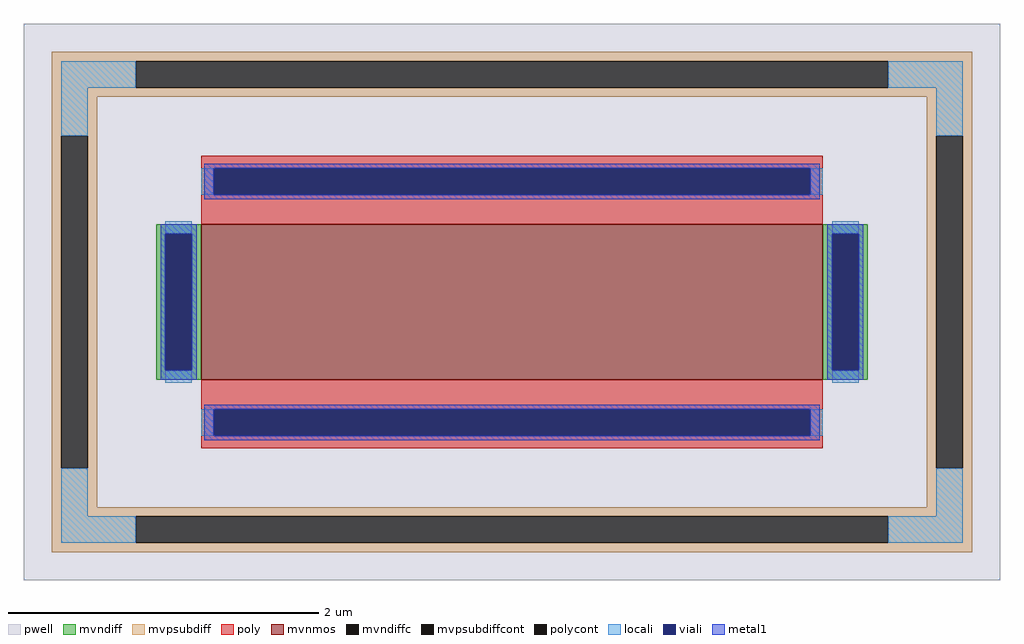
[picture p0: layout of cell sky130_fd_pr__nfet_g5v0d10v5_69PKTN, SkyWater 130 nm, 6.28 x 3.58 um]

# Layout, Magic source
magic
tech sky130A
<< pwell >>
rect -314 -179 314 179
<< mvnmos >>
rect -200 -50 200 50
<< mvndiff >>
rect -229 44 -200 50
rect -229 -44 -223 44
rect -206 -44 -200 44
rect -229 -50 -200 -44
rect 200 44 229 50
rect 200 -44 206 44
rect 223 -44 229 44
rect 200 -50 229 -44
<< mvndiffc >>
rect -223 -44 -206 44
rect 206 -44 223 44
<< mvpsubdiff >>
rect -296 155 296 161
rect -296 138 -242 155
rect 242 138 296 155
rect -296 132 296 138
rect -296 107 -267 132
rect -296 -107 -290 107
rect -273 -107 -267 107
rect 267 107 296 132
rect -296 -132 -267 -107
rect 267 -107 273 107
rect 290 -107 296 107
rect 267 -132 296 -107
rect -296 -138 296 -132
rect -296 -155 -242 -138
rect 242 -155 296 -138
rect -296 -161 296 -155
<< mvpsubdiffcont >>
rect -242 138 242 155
rect -290 -107 -273 107
rect 273 -107 290 107
rect -242 -155 242 -138
<< poly >>
rect -200 86 200 94
rect -200 69 -192 86
rect 192 69 200 86
rect -200 50 200 69
rect -200 -69 200 -50
rect -200 -86 -192 -69
rect 192 -86 200 -69
rect -200 -94 200 -86
<< polycont >>
rect -192 69 192 86
rect -192 -86 192 -69
<< locali >>
rect -290 138 -242 155
rect 242 138 290 155
rect -290 107 -273 138
rect 273 107 290 138
rect -200 69 -192 86
rect 192 69 200 86
rect -223 44 -206 52
rect -223 -52 -206 -44
rect 206 44 223 52
rect 206 -52 223 -44
rect -200 -86 -192 -69
rect 192 -86 200 -69
rect -290 -138 -273 -107
rect 273 -138 290 -107
rect -290 -155 -242 -138
rect 242 -155 290 -138
<< viali >>
rect -192 69 192 86
rect -223 -44 -206 44
rect 206 -44 223 44
rect -192 -86 192 -69
<< metal1 >>
rect -198 86 198 89
rect -198 69 -192 86
rect 192 69 198 86
rect -198 66 198 69
rect -226 44 -203 50
rect -226 -44 -223 44
rect -206 -44 -203 44
rect -226 -50 -203 -44
rect 203 44 226 50
rect 203 -44 206 44
rect 223 -44 226 44
rect 203 -50 226 -44
rect -198 -69 198 -66
rect -198 -86 -192 -69
rect 192 -86 198 -69
rect -198 -89 198 -86
<< properties >>
string FIXED_BBOX -281 -146 281 146
string gencell sky130_fd_pr__nfet_g5v0d10v5
string library sky130
string parameters w 1.0 l 4.0 m 1 nf 1 diffcov 100 polycov 100 guard 1 glc 1 grc 1 gtc 1 gbc 1 tbcov 100 rlcov 100 topc 1 botc 1 poverlap 0 doverlap 1 lmin 0.50 wmin 0.42 compatible {sky130_fd_pr__nfet_01v8 sky130_fd_pr__nfet_01v8_lvt  sky130_fd_bs_flash__special_sonosfet_star  sky130_fd_pr__nfet_g5v0d10v5 sky130_fd_pr__nfet_05v0_nvt  sky130_fd_pr__nfet_03v3_nvt} full_metal 1 viasrc 100 viadrn 100 viagate 100 viagb 0 viagr 0 viagl 0 viagt 0
<< end >>
